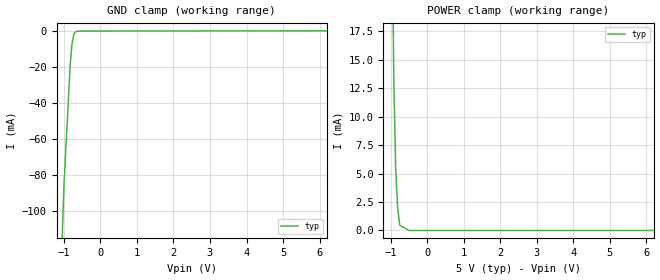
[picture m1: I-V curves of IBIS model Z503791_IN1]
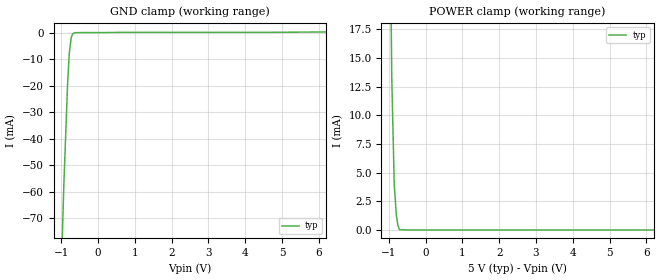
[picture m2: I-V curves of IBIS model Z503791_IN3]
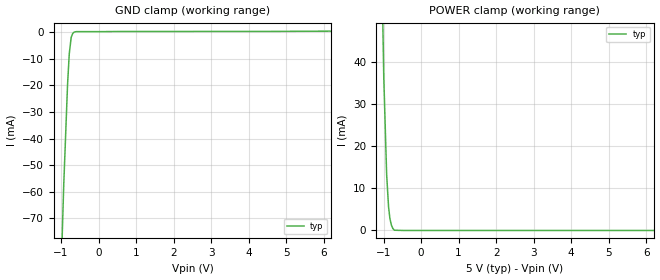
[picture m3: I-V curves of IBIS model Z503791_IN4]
| YOU ARE ONLY AUTHORIZED TO USE THIS SOFTWARE
| ACCORDING TO LICENSOR'S LICENSE RESTRICTIONS.
[IBIS Ver] 3.1
[File Name] mc74ac377dw.ibs
[File Rev] 2.0
[Source] Measured and created by ICX Technology
[Date] Friday 7/14/00 9:08:00 AM
[Copyright]
| (C) COPYRIGHT 1993-2000
| MENTOR GRAPHICS CORPORATION
| ICX STANDARD LIBRARY, ICX PROJECT MODELING,
| ICX CUSTOM MODELING, ICX VENDOR MODEL
| ALL RIGHTS RESERVED.
| THE FOLLOWING ARE TRADEMARKS OR SERVICE MARKS OF
| MENTOR GRAPHICS CORPORATION:ICX (R), ICX STANDARD
| LIBRARY(R), ICX PROJECT MODELING(R), ICX CUSTOM
| MODELING(R), qualityIBIS(TM), MODELVIEWER(TM),
| AND MODELEDITOR(TM)
| ALL COPIES OF SOFTWARE, INCLUDING BUT NOT LIMITED TO
| ANY MODIFICATIONS, ENHANCEMENTS OR DERIVATIVE WORKS,
| MUST CONTAIN ALL MENTOR GRAPHICS CORPORATION'S
| NOTICES AND LEGENDS, INCLUDING THOSE EMBEDDED IN
| SOFTWARE AND THOSE AFFIXED TO SOFTWARE MEDIUM
| AND CONTAINER, AS RECEIVED FROM MENTOR GRAPHICS
| CORPORATION.
|  ZAP Model Builder 2.7
[Component] MC74AC377DW
[Manufacturer] OnSemiconductor
[Package]
| variable   typ   min   max
R_pkg  .178ohms NA NA
L_pkg  4.43nH NA NA
C_pkg  .62pF NA NA
[Pin] signal_name  model_name  R_pin  L_pin C_pin
1 _G Z503791_IN1 .186 5.37n .68p
2 Q0 Z503791_OUT2 .182 4.89n .65p
3 D0 Z503791_IN3 .178 4.42n .62p
4 D1 Z503791_IN3 .174 3.96n .59p
5 Q1 Z503791_OUT2 .17 3.51n .56p
6 Q2 Z503791_OUT2 .17 3.51n .56p
7 D2 Z503791_IN3 .174 3.96n .59p
8 D3 Z503791_IN3 .178 4.42n .62p
9 Q3 Z503791_OUT2 .182 4.89n .65p
10 GROUND GND .186 5.37n .68p
11 CLK Z503791_IN4 .186 5.37n .68p
12 Q4 Z503791_OUT2 .182 4.89n .65p
13 D4 Z503791_IN3 .178 4.42n .62p
14 D5 Z503791_IN3 .174 3.96n .59p
15 Q5 Z503791_OUT2 .17 3.51n .56p
16 Q6 Z503791_OUT2 .17 3.51n .56p
17 D6 Z503791_IN3 .174 3.96n .59p
18 D7 Z503791_IN3 .178 4.42n .62p
19 Q7 Z503791_OUT2 .182 4.89n .65p
20 VCC POWER .186 5.37n .68p
| Models and submodels in the file (4): Z503791_IN1 (Input), Z503791_IN3 (Input), Z503791_IN4 (Input), Z503791_OUT2 (Output)
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| (C) COPYRIGHT 1993-2000
| MENTOR GRAPHICS CORPORATION
| ICX STANDARD LIBRARY, ICX PROJECT MODELING,
| ICX CUSTOM MODELING, ICX VENDOR MODEL
| ALL RIGHTS RESERVED.
| THE FOLLOWING ARE TRADEMARKS OR SERVICE MARKS OF
| MENTOR GRAPHICS CORPORATION:ICX (R), ICX STANDARD
| LIBRARY(R), ICX PROJECT MODELING(R), ICX CUSTOM
| MODELING(R), qualityIBIS(TM), MODELVIEWER(TM),
| AND MODELEDITOR(TM)
| ALL COPIES OF SOFTWARE, INCLUDING BUT NOT LIMITED TO
| ANY MODIFICATIONS, ENHANCEMENTS OR DERIVATIVE WORKS,
| MUST CONTAIN ALL MENTOR GRAPHICS CORPORATION'S
| NOTICES AND LEGENDS, INCLUDING THOSE EMBEDDED IN
| SOFTWARE AND THOSE AFFIXED TO SOFTWARE MEDIUM
| AND CONTAINER, AS RECEIVED FROM MENTOR GRAPHICS
| CORPORATION.
| Model Application Version 1.89 2/18/99.
[Model] Z503791_IN1
Model_type Input
Vinl = 1.500V
Vinh = 3.500V
C_comp 4.000pF NA NA
| variable typ   min   max
[Voltage Range] 5.000V NA NA
[GND Clamp Reference] 0.000V NA NA
[POWER Clamp Reference] 5.000V NA NA
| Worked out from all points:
|   GND clamp passes 1 mA (typ) near -0.70 V on its own axis
|   POWER clamp passes 1 mA (typ) near -0.77 V on its own axis
[GND Clamp]
-5V       -2.704A    NA         NA
-1.069V   -130mA     NA         NA
-995.8mV  -85.25mA   NA         NA
-827.8mV  -19.28mA   NA         NA
-781.3mV  -7.841mA   NA         NA
-729.4mV  -1.826mA   NA         NA
-666.8mV  -168.6uA   NA         NA
10V       428.8uA    NA         NA
[POWER Clamp]
-5V       3.704A     NA         NA
-1.111V   113.4mA    NA         NA
-1.006V   44.89mA    NA         NA
-917mV    13.52mA    NA         NA
-865mV    5.593mA    NA         NA
-811mV    1.944mA    NA         NA
-751mV    455uA      NA         NA
-500.7mV  0A         NA         NA
10V       0A         NA         NA
| (C) COPYRIGHT 1993-2000
| MENTOR GRAPHICS CORPORATION
| ICX STANDARD LIBRARY, ICX PROJECT MODELING,
| ICX CUSTOM MODELING, ICX VENDOR MODEL
| ALL RIGHTS RESERVED.
| THE FOLLOWING ARE TRADEMARKS OR SERVICE MARKS OF
| MENTOR GRAPHICS CORPORATION:ICX (R), ICX STANDARD
| LIBRARY(R), ICX PROJECT MODELING(R), ICX CUSTOM
| MODELING(R), qualityIBIS(TM), MODELVIEWER(TM),
| AND MODELEDITOR(TM)
| ALL COPIES OF SOFTWARE, INCLUDING BUT NOT LIMITED TO
| ANY MODIFICATIONS, ENHANCEMENTS OR DERIVATIVE WORKS,
| MUST CONTAIN ALL MENTOR GRAPHICS CORPORATION'S
| NOTICES AND LEGENDS, INCLUDING THOSE EMBEDDED IN
| SOFTWARE AND THOSE AFFIXED TO SOFTWARE MEDIUM
| AND CONTAINER, AS RECEIVED FROM MENTOR GRAPHICS
| CORPORATION.
| Model Application Version 1.89 2/18/99.
[Model] Z503791_IN3
Model_type Input
Vinl = 1.500V
Vinh = 3.500V
C_comp 4.000pF NA NA
| variable typ   min   max
[Voltage Range] 5.000V NA NA
[GND Clamp Reference] 0.000V NA NA
[POWER Clamp Reference] 5.000V NA NA
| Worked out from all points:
|   GND clamp passes 1 mA (typ) near -0.70 V on its own axis
|   POWER clamp passes 1 mA (typ) near -0.78 V on its own axis
[GND Clamp]
-5V       -3.247A    NA         NA
-1.005V   -94.19mA   NA         NA
-927.6mV  -57.36mA   NA         NA
-827.2mV  -19.6mA    NA         NA
-781.2mV  -7.952mA   NA         NA
-729.4mV  -1.841mA   NA         NA
-687.2mV  -435uA     NA         NA
-647.6mV  -25.04uA   NA         NA
10V       696.4uA    NA         NA
[POWER Clamp]
-5V       3.173A     NA         NA
-1.104V   100.5mA    NA         NA
-1.006V   43.59mA    NA         NA
-917mV    13.33mA    NA         NA
-849mV    3.953mA    NA         NA
-791mV    1.255mA    NA         NA
-751mV    429.3uA    NA         NA
-712mV    30.82uA    NA         NA
-474.7mV  0A         NA         NA
10V       0A         NA         NA
| (C) COPYRIGHT 1993-2000
| MENTOR GRAPHICS CORPORATION
| ICX STANDARD LIBRARY, ICX PROJECT MODELING,
| ICX CUSTOM MODELING, ICX VENDOR MODEL
| ALL RIGHTS RESERVED.
| THE FOLLOWING ARE TRADEMARKS OR SERVICE MARKS OF
| MENTOR GRAPHICS CORPORATION:ICX (R), ICX STANDARD
| LIBRARY(R), ICX PROJECT MODELING(R), ICX CUSTOM
| MODELING(R), qualityIBIS(TM), MODELVIEWER(TM),
| AND MODELEDITOR(TM)
| ALL COPIES OF SOFTWARE, INCLUDING BUT NOT LIMITED TO
| ANY MODIFICATIONS, ENHANCEMENTS OR DERIVATIVE WORKS,
| MUST CONTAIN ALL MENTOR GRAPHICS CORPORATION'S
| NOTICES AND LEGENDS, INCLUDING THOSE EMBEDDED IN
| SOFTWARE AND THOSE AFFIXED TO SOFTWARE MEDIUM
| AND CONTAINER, AS RECEIVED FROM MENTOR GRAPHICS
| CORPORATION.
| Model Application Version 1.89 2/18/99.
[Model] Z503791_IN4
Model_type Input
Vinl = 1.500V
Vinh = 3.500V
C_comp 4.000pF NA NA
| variable typ   min   max
[Voltage Range] 5.000V NA NA
[GND Clamp Reference] 0.000V NA NA
[POWER Clamp Reference] 5.000V NA NA
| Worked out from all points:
|   GND clamp passes 1 mA (typ) near -0.70 V on its own axis
|   POWER clamp passes 1 mA (typ) near -0.78 V on its own axis
[GND Clamp]
-5V       -3.69A     NA         NA
-1.006V   -93.95mA   NA         NA
-927.7mV  -57.32mA   NA         NA
-826.5mV  -19.84mA   NA         NA
-781.1mV  -8.281mA   NA         NA
-729.4mV  -2.028mA   NA         NA
-687.3mV  -530.7uA   NA         NA
-647.9mV  -56.51uA   NA         NA
10V       519.6uA    NA         NA
[POWER Clamp]
-5V       2.768A     NA         NA
-1.123V   102.2mA    NA         NA
-994mV    36.48mA    NA         NA
-917mV    13.22mA    NA         NA
-866mV    5.571mA    NA         NA
-830mV    2.827mA    NA         NA
-791mV    1.288mA    NA         NA
-751mV    464.3uA    NA         NA
-712mV    63.74uA    NA         NA
-474.7mV  0A         NA         NA
10V       0A         NA         NA
